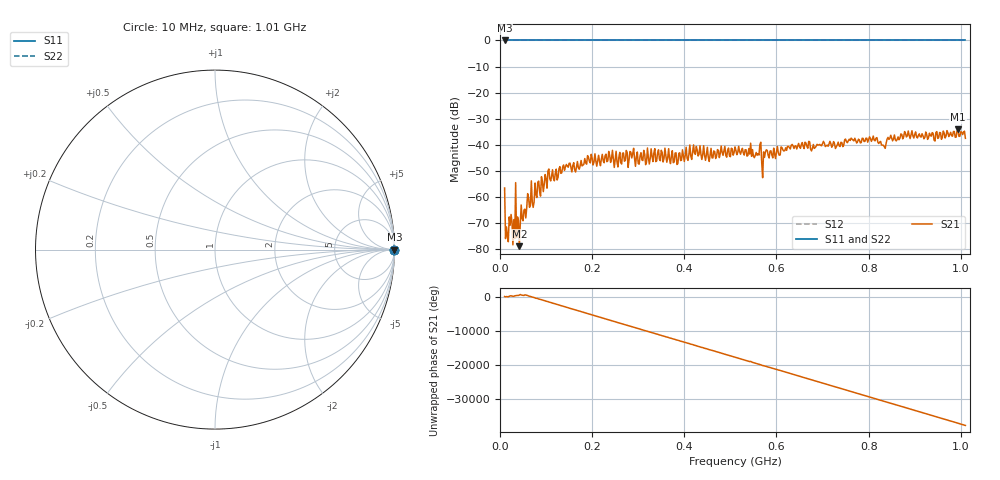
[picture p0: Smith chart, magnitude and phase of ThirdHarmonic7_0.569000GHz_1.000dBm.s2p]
! 8/17/2025 5:31:15 PM
! C:\ANRITSUVNA\TEMP\TEMP.S2P
! CHANNEL.1
! TR.MEASUREMENT
! RAW.DATA
! RF.CORRECTION.OFF
! AVERAGING.OFF
! IF.BANDWIDTH: 5KHZ
! SWEEPTYPE:  FREQ.SWEEP(Linear)
! Reference Plane Port Info
! PORT:  PORT1  PORT2
! DISTANCE:  0  m  0  m
! TIME:  0  s  0  s
! PHASE.OFFSET:  0  deg.  0  deg.
! LOSS:  0  dB  0  dB
! REF.LOSS:  0  dB  0  dB
! REF.FREQ:  0  Hz  0  Hz
! Power Info
! POWER:  -20  dBm  -20  dBm
! EFF.POWER:  -20  dBm  -20  dBm
! SOURCE.ATTEN:  0  dB  0  dB
! TEST.ATTEN:  0  dB  0  dB
# GHZ S RI R 50.0
! FREQ.GHZ  S11RE  S11IM  S21RE  S21IM  S12RE  S12IM  S22RE  S22IM
!; PortSelection: Port_12
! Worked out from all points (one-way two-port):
!   501 points, 10 MHz to 1.01 GHz, reference 50 ohm
!   highest |S21| = -34.09 dB at 994 MHz (marker M1); lowest = -78.8 dB at 42 MHz (marker M2)
!   lowest |S11| = 0.0 dB at 10 MHz (marker M3)
!   |S11| at or under -10 dB: nowhere
!   |S22| runs from 0.0 to 0.0 dB; largest |S21 - S12| = 1
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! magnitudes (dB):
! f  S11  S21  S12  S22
! 10 MHz  0.0  -56.5  0.0  0.0
! 16 MHz  0.0  -74.6  0.0  0.0
! 34 MHz  0.0  -54.5  0.0  0.0
! 40 MHz  0.0  -68.9  0.0  0.0
! 42 MHz  0.0  -78.8  0.0  0.0
! 64 MHz  0.0  -63.9  0.0  0.0
! 76 MHz  0.0  -54.6  0.0  0.0
! 102 MHz  0.0  -56.6  0.0  0.0
! 178 MHz  0.0  -48.1  0.0  0.0
! 286 MHz  0.0  -45.0  0.0  0.0
! 298 MHz  0.0  -42.7  0.0  0.0
! 344 MHz  0.0  -41.9  0.0  0.0
! 510 MHz  0.0  -40.8  0.0  0.0
! 562 MHz  0.0  -43.9  0.0  0.0
! 572 MHz  0.0  -42.7  0.0  0.0
! 576 MHz  0.0  -42.7  0.0  0.0
! 678 MHz  0.0  -41.3  0.0  0.0
! 806 MHz  0.0  -38.7  0.0  0.0
! 832 MHz  0.0  -40.2  0.0  0.0
! 844 MHz  0.0  -37.9  0.0  0.0
! 994 MHz  0.0  -34.1  0.0  0.0
! 1.01 GHz  0.0  -37.5  0.0  0.0
